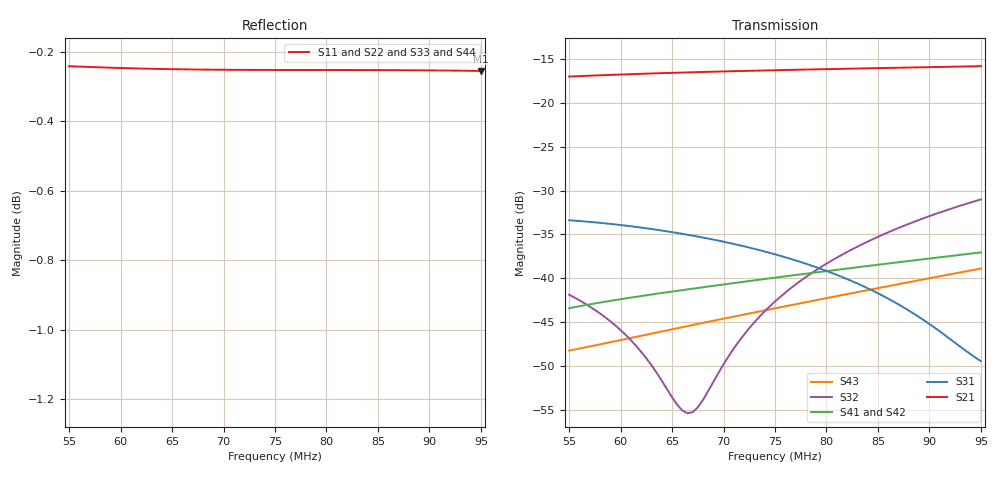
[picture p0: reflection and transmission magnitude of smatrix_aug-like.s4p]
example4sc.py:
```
# %%
## cleaning in SPYDER
get_ipython().magic('reset -f')
get_ipython().magic('clear')
##
globals().clear()
import numpy as np
import matplotlib.pyplot as plt
from load import fun_load_touchstone as flt
from smith_chart import smith_Smatrix
import gc as gc

gc.collect()    #release ram
plt.close('all')     #close all figures

# %% data file
pre = 'input/example/'
fname = 'smatrix_aug-like.s4p'
fre_unit = 'Hz'
# %% read data
fre_units = {'MHz':1e6,'Hz':1}
fre_u = fre_units[fre_unit]
#load s4p file, trans to freauency and Smatrix
fre,S = flt(pre+fname)
fre = fre*fre_u
# %% set the data
x= fre
S11 = np.array([Smatrix[0,0] for Smatrix in S])
# %% plot smith chart
a = len(fre)
smith_Smatrix(S11, 1,display_mode='line_with_arrow')
plt.show()
```
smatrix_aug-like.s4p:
! TOUCHSTONE file generated by CST MICROWAVE STUDIO
! Date and time: Sat Mar 20 20:07:13 2021
! Project name: test_v14dpp.cst
! Parameters = {addx=1; addy=1; ant_d=0.2; ant_h=0.63; ant_w=0.885; bars_diameter=0.018; bars_distance=0.0357647; bars_no=16; box_left_xc=-0.095; box_mid_w=0.225; box_mid_xc=0.1875; box_outer_w=0.28; bridge_h=0.04; bridge_outer_yc=0; bridge_thickness=0.02; clearance=0.062; coax_a=0.054; coax_b=0.081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
! Header version: 2018
! Port assignment regex: !\s*Touchstone port\s*([0-9]+)\s*=\s*(CST MWS port|CST DS port)\s*([0-9]+|Zmin|Zmax)\s*\(\"(.*)\"\)(\s*mode\s*([0-9]+))?.*
! Touchstone port assignment:
! Touchstone port 1 = CST MWS port 1 ("")
! Touchstone port 2 = CST MWS port 2 ("")
! Touchstone port 3 = CST MWS port 3 ("")
! Touchstone port 4 = CST MWS port 4 ("")
! S-Parameters are not renormalized. Unphysical impedance of 50 will be written to the file.
# MHz S MA R 50
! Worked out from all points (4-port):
!   81 points, 55 MHz to 95 MHz, reference per port
!   strongest paths, dB at 55 MHz, 65 MHz, 75 MHz, 85 MHz, 95 MHz:
!     S21: -17.0, -16.6, -16.3, -16.0, -15.8
!     S31: -33.4, -34.7, -37.3, -41.7, -49.4
!     S41: -43.4, -41.5, -39.9, -38.4, -37.0
!     S42: -43.3, -41.5, -40.0, -38.6, -37.4
!     S32: -41.9, -53.6, -42.6, -35.3, -31.0
!     S43: -48.2, -45.8, -43.4, -41.1, -38.9
!   lowest |S11| = -0.3 dB at 95 MHz (marker M1), VSWR 68.32
!   |S11| at or under -10 dB: nowhere
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55  0.9727 67.6  0.1414 -18.7  0.02143 -21.3  0.006749 1.4
    0.1414 -18.7  0.9729 67.6  0.008071 -38.9  0.006872 -178.1
    0.02144 -21.3  0.008071 -38.9  0.9754 66.6  0.003873 -0.6
    0.006751 1.4  0.006873 -178.0  0.003874 -0.6  0.9754 91.8
67  0.9716 50.4  0.1496 -36.1  0.01751 -41.2  0.008728 -20.6
    0.1496 -36.1  0.9718 50.3  0.001725 -149.3  0.008765 159.6
    0.01751 -41.2  0.001725 -149.3  0.9705 39.4  0.005415 -28.9
    0.008731 -20.6  0.008766 159.6  0.005416 -28.9  0.9711 70.0
95  0.9711 16.1  0.1621 -70.8  0.003372 -41.1  0.01405 -71.0
    0.1621 -70.8  0.9707 16.0  0.02818 79.1  0.01349 108.1
    0.003373 -41.1  0.02818 79.1  0.9587 -35.3  0.01136 -104.6
    0.01406 -71.0  0.01349 108.1  0.01137 -104.6  0.9635 12.4
